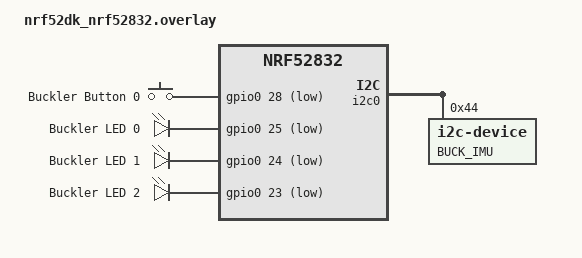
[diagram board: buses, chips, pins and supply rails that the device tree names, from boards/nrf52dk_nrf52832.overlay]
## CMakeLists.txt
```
cmake_minimum_required(VERSION 3.20.0)
find_package(Zephyr REQUIRED HINTS $ENV{ZEPHYR_BASE})

project(non_dk)

target_sources(app PRIVATE src/main.c)
```

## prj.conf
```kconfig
CONFIG_GPIO=y
CONFIG_I2C=y
```

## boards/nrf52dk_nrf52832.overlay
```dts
   
    // Define pin configuration if necessary
    &i2c0 {
        status = "okay"; // Ensure the I2C controller is enabled
        mysensor: mysensor@44{
            compatible = "i2c-device";
            reg = <0x44>;
            label = "BUCK_IMU";        
        };
    };
    
    &i2c0_default {
        group1 {
            psels = <NRF_PSEL(TWIM_SDA, 0, 20)>,
                    <NRF_PSEL(TWIM_SCL, 0, 19)>;
        };
    };
    
    &i2c0_sleep {
        group1 {
            psels = <NRF_PSEL(TWIM_SDA, 0, 20)>,
                    <NRF_PSEL(TWIM_SCL, 0, 19)>;
            low-power-enable;
        };
    };
    
    
/{
    buttons {
        compatible = "gpio-keys";        

        bucklerbutton0: gpio-pin28 {
            gpios = <&gpio0 28 (GPIO_PULL_UP | GPIO_ACTIVE_LOW)>;
            label = "Buckler Button 0";
            zephyr,code = <INPUT_KEY_0>;
        };
    };

    leds {
        compatible = "gpio-leds";

        bucklerled0: gpio-pin25 {
            gpios = <&gpio0 25 GPIO_ACTIVE_LOW>;
            label = "Buckler LED 0";
        };

        bucklerled1: gpio-pin24 {
            gpios = <&gpio0 24 GPIO_ACTIVE_LOW>;
            label = "Buckler LED 1";
        };

        bucklerled2: gpio-pin23 {
            gpios = <&gpio0 23 GPIO_ACTIVE_LOW>;
            label = "Buckler LED 2";
        };
    };

    aliases {
        bucklerbutton0 = &bucklerbutton0;
        bucklerled0 = &bucklerled0;
        bucklerled1 = &bucklerled1;
        bucklerled2 = &bucklerled2;
    };
};
```

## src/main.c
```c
#include <zephyr/kernel.h>
#include <zephyr/logging/log.h>
#include <zephyr/drivers/i2c.h>

LOG_MODULE_REGISTER(i2c_scanner, LOG_LEVEL_INF);

#define I2C_DEV_LABEL DT_LABEL(DT_NODELABEL(i2c0))

void main(void)
{
    const struct device *i2c_dev = device_get_binding(I2C_DEV_LABEL);
    if (!i2c_dev) {
        LOG_ERR("I2C: Device driver not found.");
        return;
    }

    LOG_INF("Starting I2C scan on %s...", I2C_DEV_LABEL);

    for (uint8_t addr = 0x03; addr <= 0x77; addr++) {
        uint8_t dummy;
        int ret = i2c_write_read(i2c_dev, addr, NULL, 0, &dummy, 1);
        if (ret == 0) {
            LOG_INF("Found device at address 0x%02X", addr);
        }
        k_msleep(10);
    }

    LOG_INF("I2C scan complete.");
}
```
